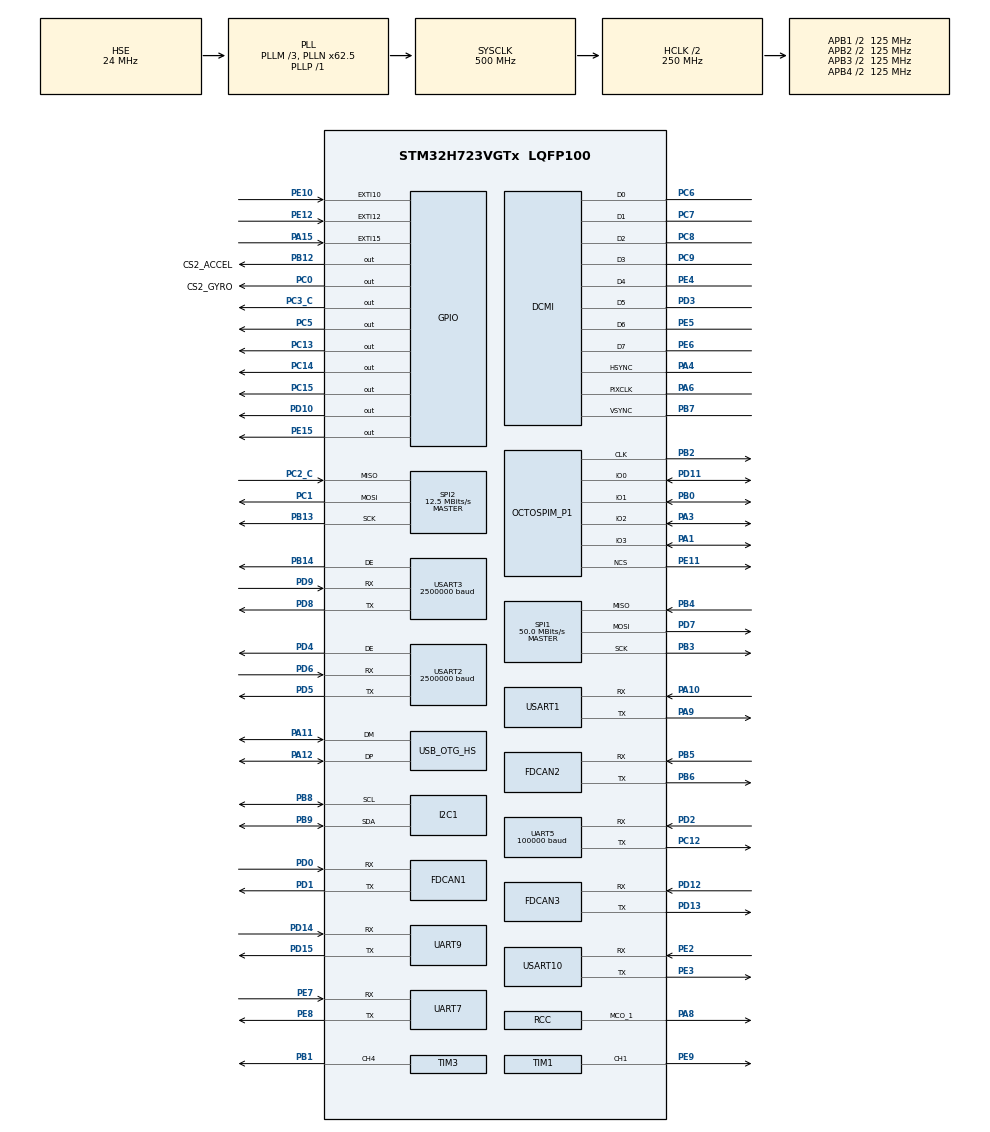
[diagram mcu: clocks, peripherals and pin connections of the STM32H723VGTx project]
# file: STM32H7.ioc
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DCMI.JPEGMode=DCMI_JPEG_DISABLE
Dma.Request0=SPI2_RX
Dma.Request1=SPI2_TX
Dma.Request2=USART2_RX
Dma.Request3=USART2_TX
Dma.Request4=USART3_RX
Dma.Request5=USART3_TX
Dma.SPI2_RX.0.Direction=DMA_PERIPH_TO_MEMORY
Dma.SPI2_RX.0.EventEnable=DISABLE
Dma.SPI2_RX.0.FIFOMode=DMA_FIFOMODE_DISABLE
Dma.SPI2_RX.0.Instance=DMA1_Stream0
Dma.SPI2_RX.0.MemDataAlignment=DMA_MDATAALIGN_BYTE
Dma.SPI2_RX.0.MemInc=DMA_MINC_ENABLE
Dma.SPI2_RX.0.Mode=DMA_NORMAL
Dma.SPI2_RX.0.PeriphDataAlignment=DMA_PDATAALIGN_BYTE
Dma.SPI2_RX.0.PeriphInc=DMA_PINC_DISABLE
Dma.SPI2_RX.0.Polarity=HAL_DMAMUX_REQ_GEN_RISING
Dma.SPI2_RX.0.Priority=DMA_PRIORITY_VERY_HIGH
Dma.SPI2_RX.0.RequestNumber=1
Dma.SPI2_RX.0.SignalID=NONE
Dma.SPI2_RX.0.SyncEnable=DISABLE
Dma.SPI2_RX.0.SyncPolarity=HAL_DMAMUX_SYNC_NO_EVENT
Dma.SPI2_RX.0.SyncRequestNumber=1
Dma.SPI2_RX.0.SyncSignalID=NONE
Dma.SPI2_TX.1.Direction=DMA_MEMORY_TO_PERIPH
Dma.SPI2_TX.1.EventEnable=DISABLE
Dma.SPI2_TX.1.FIFOMode=DMA_FIFOMODE_DISABLE
Dma.SPI2_TX.1.Instance=DMA1_Stream1
Dma.SPI2_TX.1.MemDataAlignment=DMA_MDATAALIGN_BYTE
Dma.SPI2_TX.1.MemInc=DMA_MINC_ENABLE
Dma.SPI2_TX.1.Mode=DMA_NORMAL
Dma.SPI2_TX.1.PeriphDataAlignment=DMA_PDATAALIGN_BYTE
Dma.SPI2_TX.1.PeriphInc=DMA_PINC_DISABLE
Dma.SPI2_TX.1.Polarity=HAL_DMAMUX_REQ_GEN_RISING
Dma.SPI2_TX.1.Priority=DMA_PRIORITY_VERY_HIGH
Dma.SPI2_TX.1.RequestNumber=1
Dma.SPI2_TX.1.SignalID=NONE
Dma.SPI2_TX.1.SyncEnable=DISABLE
Dma.SPI2_TX.1.SyncPolarity=HAL_DMAMUX_SYNC_NO_EVENT
Dma.SPI2_TX.1.SyncRequestNumber=1
Dma.SPI2_TX.1.SyncSignalID=NONE
Dma.USART2_RX.2.Direction=DMA_PERIPH_TO_MEMORY
Dma.USART2_RX.2.EventEnable=DISABLE
Dma.USART2_RX.2.FIFOMode=DMA_FIFOMODE_DISABLE
Dma.USART2_RX.2.Instance=DMA1_Stream2
Dma.USART2_RX.2.MemDataAlignment=DMA_MDATAALIGN_BYTE
Dma.USART2_RX.2.MemInc=DMA_MINC_ENABLE
Dma.USART2_RX.2.Mode=DMA_NORMAL
Dma.USART2_RX.2.PeriphDataAlignment=DMA_PDATAALIGN_BYTE
Dma.USART2_RX.2.PeriphInc=DMA_PINC_DISABLE
Dma.USART2_RX.2.Polarity=HAL_DMAMUX_REQ_GEN_RISING
Dma.USART2_RX.2.Priority=DMA_PRIORITY_MEDIUM
Dma.USART2_RX.2.RequestNumber=1
Dma.USART2_RX.2.SignalID=NONE
Dma.USART2_RX.2.SyncEnable=DISABLE
Dma.USART2_RX.2.SyncPolarity=HAL_DMAMUX_SYNC_NO_EVENT
Dma.USART2_RX.2.SyncRequestNumber=1
Dma.USART2_RX.2.SyncSignalID=NONE
Dma.USART2_TX.3.Direction=DMA_MEMORY_TO_PERIPH
Dma.USART2_TX.3.EventEnable=DISABLE
Dma.USART2_TX.3.FIFOMode=DMA_FIFOMODE_DISABLE
Dma.USART2_TX.3.Instance=DMA1_Stream3
Dma.USART2_TX.3.MemDataAlignment=DMA_MDATAALIGN_BYTE
Dma.USART2_TX.3.MemInc=DMA_MINC_ENABLE
Dma.USART2_TX.3.Mode=DMA_NORMAL
Dma.USART2_TX.3.PeriphDataAlignment=DMA_PDATAALIGN_BYTE
Dma.USART2_TX.3.PeriphInc=DMA_PINC_DISABLE
Dma.USART2_TX.3.Polarity=HAL_DMAMUX_REQ_GEN_RISING
Dma.USART2_TX.3.Priority=DMA_PRIORITY_MEDIUM
Dma.USART2_TX.3.RequestNumber=1
Dma.USART2_TX.3.SignalID=NONE
Dma.USART2_TX.3.SyncEnable=DISABLE
Dma.USART2_TX.3.SyncPolarity=HAL_DMAMUX_SYNC_NO_EVENT
Dma.USART2_TX.3.SyncRequestNumber=1
Dma.USART2_TX.3.SyncSignalID=NONE
Dma.USART3_RX.4.Direction=DMA_PERIPH_TO_MEMORY
Dma.USART3_RX.4.EventEnable=DISABLE
Dma.USART3_RX.4.FIFOMode=DMA_FIFOMODE_DISABLE
Dma.USART3_RX.4.Instance=DMA1_Stream4
Dma.USART3_RX.4.MemDataAlignment=DMA_MDATAALIGN_BYTE
Dma.USART3_RX.4.MemInc=DMA_MINC_ENABLE
Dma.USART3_RX.4.Mode=DMA_NORMAL
Dma.USART3_RX.4.PeriphDataAlignment=DMA_PDATAALIGN_BYTE
Dma.USART3_RX.4.PeriphInc=DMA_PINC_DISABLE
Dma.USART3_RX.4.Polarity=HAL_DMAMUX_REQ_GEN_RISING
Dma.USART3_RX.4.Priority=DMA_PRIORITY_MEDIUM
Dma.USART3_RX.4.RequestNumber=1
Dma.USART3_RX.4.SignalID=NONE
Dma.USART3_RX.4.SyncEnable=DISABLE
Dma.USART3_RX.4.SyncPolarity=HAL_DMAMUX_SYNC_NO_EVENT
Dma.USART3_RX.4.SyncRequestNumber=1
Dma.USART3_RX.4.SyncSignalID=NONE
Dma.USART3_TX.5.Direction=DMA_MEMORY_TO_PERIPH
Dma.USART3_TX.5.EventEnable=DISABLE
Dma.USART3_TX.5.FIFOMode=DMA_FIFOMODE_DISABLE
Dma.USART3_TX.5.Instance=DMA1_Stream5
Dma.USART3_TX.5.MemDataAlignment=DMA_MDATAALIGN_BYTE
Dma.USART3_TX.5.MemInc=DMA_MINC_ENABLE
Dma.USART3_TX.5.Mode=DMA_NORMAL
Dma.USART3_TX.5.PeriphDataAlignment=DMA_PDATAALIGN_BYTE
Dma.USART3_TX.5.PeriphInc=DMA_PINC_DISABLE
Dma.USART3_TX.5.Polarity=HAL_DMAMUX_REQ_GEN_RISING
Dma.USART3_TX.5.Priority=DMA_PRIORITY_MEDIUM
Dma.USART3_TX.5.RequestNumber=1
Dma.USART3_TX.5.SignalID=NONE
Dma.USART3_TX.5.SyncEnable=DISABLE
Dma.USART3_TX.5.SyncPolarity=HAL_DMAMUX_SYNC_NO_EVENT
Dma.USART3_TX.5.SyncRequestNumber=1
Dma.USART3_TX.5.SyncSignalID=NONE
FDCAN1.AutoRetransmission=DISABLE
FDCAN1.CalculateBaudRateNominal=1000000
FDCAN1.CalculateTimeBitNominal=1000
FDCAN1.CalculateTimeQuantumNominal=40.0
FDCAN1.DataPrescaler=4
FDCAN1.DataSyncJumpWidth=1
FDCAN1.DataTimeSeg1=19
FDCAN1.DataTimeSeg2=5
FDCAN1.ExtFiltersNbr=5
FDCAN1.FrameFormat=FDCAN_FRAME_CLASSIC
FDCAN1.NominalPrescaler=4
FDCAN1.NominalTimeSeg1=19
FDCAN1.NominalTimeSeg2=5
FDCAN1.ProtocolException=ENABLE
FDCAN1.RxFifo0ElmtSize=FDCAN_DATA_BYTES_24
FDCAN1.RxFifo0ElmtsNbr=4
FDCAN1.RxFifo1ElmtSize=FDCAN_DATA_BYTES_24
FDCAN1.RxFifo1ElmtsNbr=0
FDCAN1.StdFiltersNbr=5
FDCAN1.TransmitPause=DISABLE
FDCAN1.TxElmtSize=FDCAN_DATA_BYTES_24
FDCAN1.TxFifoQueueElmtsNbr=8
FDCAN2.CalculateBaudRateNominal=1000000
FDCAN2.CalculateTimeBitNominal=1000
FDCAN2.CalculateTimeQuantumNominal=50.0
FDCAN2.DataPrescaler=5
FDCAN2.DataSyncJumpWidth=1
FDCAN2.DataTimeSeg1=14
FDCAN2.DataTimeSeg2=5
FDCAN2.ExtFiltersNbr=5
FDCAN2.FrameFormat=FDCAN_FRAME_CLASSIC
FDCAN2.MessageRAMOffset=854
FDCAN2.NominalPrescaler=5
FDCAN2.NominalTimeSeg1=14
FDCAN2.NominalTimeSeg2=5
FDCAN2.ProtocolException=ENABLE
FDCAN2.RxFifo0ElmtsNbr=0
FDCAN2.RxFifo1ElmtSize=FDCAN_DATA_BYTES_24
FDCAN2.RxFifo1ElmtsNbr=4
FDCAN2.StdFiltersNbr=5
FDCAN2.TxElmtSize=FDCAN_DATA_BYTES_16
FDCAN2.TxFifoQueueElmtsNbr=4
FDCAN3.CalculateBaudRateNominal=1250000
FDCAN3.CalculateTimeBitNominal=800
FDCAN3.CalculateTimeQuantumNominal=160.0
FREERTOS.Tasks01=defaultTask,24,128,StartDefaultTask,Default,NULL,Dynamic,NULL,NULL
I2C1.Timing=0x20A0A3F6
Mcu.Family=STM32H7
Mcu.Name=STM32H723VGTx
Mcu.Package=LQFP100
NVIC.DMA1_Stream0_IRQn=true\:5\:0\:false\:false\:true\:true\:false\:true\:true
NVIC.DMA1_Stream1_IRQn=true\:5\:0\:false\:false\:true\:true\:false\:true\:true
NVIC.DMA1_Stream2_IRQn=true\:5\:0\:false\:false\:true\:true\:false\:true\:true
NVIC.DMA1_Stream3_IRQn=true\:5\:0\:false\:false\:true\:true\:false\:true\:true
NVIC.DMA1_Stream4_IRQn=true\:5\:0\:false\:false\:true\:true\:false\:true\:true
NVIC.DMA1_Stream5_IRQn=true\:5\:0\:false\:false\:true\:true\:false\:true\:true
NVIC.EXTI15_10_IRQn=true\:5\:0\:false\:false\:true\:true\:true\:true\:true
NVIC.FDCAN1_IT0_IRQn=true\:5\:0\:false\:false\:true\:true\:true\:true\:true
NVIC.FDCAN2_IT0_IRQn=true\:5\:0\:false\:false\:true\:true\:true\:true\:true
NVIC.OTG_HS_IRQn=true\:5\:0\:false\:false\:true\:true\:false\:true\:true
NVIC.PriorityGroup=NVIC_PRIORITYGROUP_4
NVIC.SPI2_IRQn=true\:5\:0\:false\:false\:true\:true\:false\:true\:true
NVIC.TIM2_IRQn=true\:5\:0\:false\:false\:true\:true\:true\:true\:true
NVIC.UART5_IRQn=true\:5\:0\:false\:false\:true\:true\:true\:true\:true
NVIC.USART1_IRQn=true\:5\:0\:false\:false\:true\:true\:true\:true\:true
NVIC.USART2_IRQn=true\:5\:0\:false\:false\:true\:true\:true\:true\:true
NVIC.USART3_IRQn=true\:5\:0\:false\:false\:true\:true\:true\:true\:true
PA0.Signal=S_TIM2_CH1_ETR
PA1.Mode=OCTOSPI1_IOL_Port1L
PA1.Signal=OCTOSPIM_P1_IO3
PA10.Mode=Asynchronous
PA10.Signal=USART1_RX
PA11.Mode=Device_Only_FS
PA11.Signal=USB_OTG_HS_DM
PA12.Mode=Device_Only_FS
PA12.Signal=USB_OTG_HS_DP
PA13(JTMS/SWDIO).Mode=Serial_Wire
PA13(JTMS/SWDIO).Signal=DEBUG_JTMS-SWDIO
PA14(JTCK/SWCLK).Mode=Serial_Wire
PA14(JTCK/SWCLK).Signal=DEBUG_JTCK-SWCLK
PA15(JTDI).GPIO_ModeDefaultEXTI=GPIO_MODE_IT_FALLING
PA15(JTDI).GPIO_PuPd=GPIO_PULLUP
PA15(JTDI).Signal=GPXTI15
PA2.Signal=S_TIM2_CH3
PA3.Mode=OCTOSPI1_IOL_Port1L
PA3.Signal=OCTOSPIM_P1_IO2
PA4.Mode=Slave_8_bits_External_Synchro
PA4.Signal=DCMI_HSYNC
PA5.Signal=ADCx_INN18
PA6.Mode=Slave_8_bits_External_Synchro
PA6.Signal=DCMI_PIXCLK
PA7.Signal=SPI6_MOSI
PA8.Mode=Clock-out-1
PA8.Signal=RCC_MCO_1
PA9.Mode=Asynchronous
PA9.Signal=USART1_TX
PB0.Mode=OCTOSPI1_IOL_Port1L
PB0.Signal=OCTOSPIM_P1_IO1
PB1.Signal=S_TIM3_CH4
PB10.Signal=I2C2_SCL
PB11.Signal=I2C2_SDA
PB12.GPIO_Label=CS2_ACCEL
PB12.Signal=GPIO_Output
PB13.Mode=Full_Duplex_Master
PB13.Signal=SPI2_SCK
PB14.Mode=Hardware Flow Control (RS485)
PB14.Signal=USART3_DE
PB15.Signal=S_TIM12_CH2
PB2.Mode=O1_P1_CLK
PB2.Signal=OCTOSPIM_P1_CLK
PB3(JTDO/TRACESWO).Mode=Full_Duplex_Master
PB3(JTDO/TRACESWO).Signal=SPI1_SCK
PB4(NJTRST).Mode=Full_Duplex_Master
PB4(NJTRST).Signal=SPI1_MISO
PB5.Mode=FDCAN_Activate
PB5.Signal=FDCAN2_RX
PB6.Mode=FDCAN_Activate
PB6.Signal=FDCAN2_TX
PB7.Mode=Slave_8_bits_External_Synchro
PB7.Signal=DCMI_VSYNC
PB8.GPIO_Pu=GPIO_PULLUP
PB8.Mode=I2C
PB8.Signal=I2C1_SCL
PB9.GPIO_Pu=GPIO_PULLUP
PB9.Mode=I2C
PB9.Signal=I2C1_SDA
PC0.GPIO_Label=CS2_GYRO
PC0.Signal=GPIO_Output
PC1.Mode=Full_Duplex_Master
PC1.Signal=SPI2_MOSI
PC12.Mode=Asynchronous
PC12.Signal=UART5_TX
PC13.Signal=GPIO_Output
PC14-OSC32_IN.Signal=GPIO_Output
PC15-OSC32_OUT.PinState=GPIO_PIN_SET
PC15-OSC32_OUT.Signal=GPIO_Output
PC2_C.Mode=Full_Duplex_Master
PC2_C.Signal=SPI2_MISO
PC3_C.Signal=GPIO_Output
PC4.Signal=ADCx_INP4
PC5.Signal=GPIO_Output
PC6.Mode=Slave_8_bits_External_Synchro
PC6.Signal=DCMI_D0
PC7.Mode=Slave_8_bits_External_Synchro
PC7.Signal=DCMI_D1
PC8.Mode=Slave_8_bits_External_Synchro
PC8.Signal=DCMI_D2
PC9.Mode=Slave_8_bits_External_Synchro
PC9.Signal=DCMI_D3
PD0.Mode=FDCAN_Activate
PD0.Signal=FDCAN1_RX
PD1.Mode=FDCAN_Activate
PD1.Signal=FDCAN1_TX
PD10.Signal=GPIO_Output
PD11.Mode=OCTOSPI1_IOL_Port1L
PD11.Signal=OCTOSPIM_P1_IO0
PD12.Mode=FDCAN_Activate
PD12.Signal=FDCAN3_RX
PD13.Mode=FDCAN_Activate
PD13.Signal=FDCAN3_TX
PD14.Mode=Asynchronous
PD14.Signal=UART9_RX
PD15.Mode=Asynchronous
PD15.Signal=UART9_TX
PD2.Mode=Asynchronous
PD2.Signal=UART5_RX
PD3.Mode=Slave_8_bits_External_Synchro
PD3.Signal=DCMI_D5
PD4.Mode=Hardware Flow Control (RS485)
PD4.Signal=USART2_DE
PD5.Mode=Asynchronous
PD5.Signal=USART2_TX
PD6.Mode=Asynchronous
PD6.Signal=USART2_RX
PD7.Mode=Full_Duplex_Master
PD7.Signal=SPI1_MOSI
PD8.Mode=Asynchronous
PD8.Signal=USART3_TX
PD9.Mode=Asynchronous
PD9.Signal=USART3_RX
PE0.Signal=UART8_RX
PE1.Signal=UART8_TX
PE10.Signal=GPXTI10
PE11.Mode=OCTOSPI1_Port1_NCS
PE11.Signal=OCTOSPIM_P1_NCS
PE12.Signal=GPXTI12
PE13.Signal=S_TIM1_CH3
PE14.Signal=SPI4_MOSI
PE15.Signal=GPIO_Output
PE2.Mode=Asynchronous
PE2.Signal=USART10_RX
PE3.Mode=Asynchronous
PE3.Signal=USART10_TX
PE4.Mode=Slave_8_bits_External_Synchro
PE4.Signal=DCMI_D4
PE5.Mode=Slave_8_bits_External_Synchro
PE5.Signal=DCMI_D6
PE6.Mode=Slave_8_bits_External_Synchro
PE6.Signal=DCMI_D7
PE7.Mode=Asynchronous
PE7.Signal=UART7_RX
PE8.Mode=Asynchronous
PE8.Signal=UART7_TX
PE9.Signal=S_TIM1_CH1
PH0-OSC_IN.Mode=HSE-External-Oscillator
PH0-OSC_IN.Signal=RCC_OSC_IN
PH1-OSC_OUT.Mode=HSE-External-Oscillator
PH1-OSC_OUT.Signal=RCC_OSC_OUT
ProjectManager.HeapSize=0x200
ProjectManager.StackSize=0x400
ProjectManager.TargetToolchain=MDK-ARM V5.32
RCC.ADCFreq_Value=81473684.21052632
RCC.APB1Freq_Value=125000000
RCC.APB2Freq_Value=125000000
RCC.APB3Freq_Value=125000000
RCC.APB4Freq_Value=125000000
RCC.CortexFreq_Value=500000000
RCC.D1PPRE=RCC_APB3_DIV2
RCC.D2PPRE1=RCC_APB1_DIV2
RCC.D2PPRE2=RCC_APB2_DIV2
RCC.D3PPRE=RCC_APB4_DIV2
RCC.DIVM1=3
RCC.DIVM2=19
RCC.DIVN1=62
RCC.DIVP1=1
RCC.DIVQ1=5
RCC.HCLKFreq_Value=250000000
RCC.HPRE=RCC_HCLK_DIV2
RCC.HSE_VALUE=24000000
RCC.PLL2FRACN=0
RCC.PLL3FRACN=0
RCC.PLLFRACN=4096
RCC.PLLSourceVirtual=RCC_PLLSOURCE_HSE
RCC.RCC_MCO1Source=RCC_MCO1SOURCE_HSE
RCC.SYSCLKFreq_VALUE=500000000
RCC.SYSCLKSource=RCC_SYSCLKSOURCE_PLLCLK
RCC.USBCLockSelection=RCC_USBCLKSOURCE_HSI48
RCC.USBFreq_Value=48000000
SH.ADCx_INN18.0=ADC1_INN18
SH.ADCx_INP4.0=ADC1_INP4
SH.S_TIM12_CH2.0=TIM12_CH2
SH.S_TIM1_CH1.0=TIM1_CH1,PWM Generation1 CH1
SH.S_TIM1_CH3.0=TIM1_CH3
SH.S_TIM2_CH1_ETR.0=TIM2_CH1
SH.S_TIM2_CH3.0=TIM2_CH3
SH.S_TIM3_CH4.0=TIM3_CH4,PWM Generation4 CH4
SPI1.BaudRatePrescaler=SPI_BAUDRATEPRESCALER_2
SPI1.CalculateBaudRate=50.0 MBits/s
SPI1.Direction=SPI_DIRECTION_2LINES
SPI1.Mode=SPI_MODE_MASTER
SPI1.VirtualType=VM_MASTER
SPI2.BaudRatePrescaler=SPI_BAUDRATEPRESCALER_8
SPI2.CLKPhase=SPI_PHASE_2EDGE
SPI2.CLKPolarity=SPI_POLARITY_HIGH
SPI2.CalculateBaudRate=12.5 MBits/s
SPI2.DataSize=SPI_DATASIZE_8BIT
SPI2.Direction=SPI_DIRECTION_2LINES
SPI2.Mode=SPI_MODE_MASTER
SPI2.VirtualNSS=VM_NSSHARD
SPI2.VirtualType=VM_MASTER
TIM1.Channel-PWM\ Generation1\ CH1=TIM_CHANNEL_1
TIM1.Channel-PWM\ Generation2\ CH2=TIM_CHANNEL_2
TIM1.Channel-PWM\ Generation3\ CH3=TIM_CHANNEL_3
TIM1.Channel-PWM\ Generation4\ CH4=TIM_CHANNEL_4
TIM2.Period=999
TIM2.Prescaler=249
TIM3.Channel-PWM\ Generation4\ CH4=TIM_CHANNEL_4
UART5.BaudRate=100000
UART5.Mode=MODE_TX_RX
UART5.Parity=PARITY_EVEN
UART5.RxPinLevelInvertParam=UART_ADVFEATURE_RXINV_DISABLE
UART5.StopBits=UART_STOPBITS_2
UART5.WordLength=WORDLENGTH_9B
USART1.VirtualMode-Asynchronous=VM_ASYNC
USART10.VirtualMode=VM_ASYNC
USART2.BaudRate=2500000
USART2.VirtualMode-Asynchronous=VM_ASYNC
USART2.VirtualMode-Hardware\ Flow\ Control\ (RS485)=VM_ASYNC
USART3.BaudRate=2500000
USART3.VirtualMode-Asynchronous=VM_ASYNC
USART3.VirtualMode-Hardware\ Flow\ Control\ (RS485)=VM_ASYNC
USB_DEVICE.CLASS_NAME_HS=CDC
USB_DEVICE.VirtualMode=Cdc
USB_DEVICE.VirtualModeHS=Cdc_HS
USB_OTG_HS.VirtualMode-Device_Only_FS=Device_Only_FS
VP_FREERTOS_VS_CMSIS_V2.Mode=CMSIS_V2
VP_OCTOSPI1_VS_quad.Mode=quad_mode
VP_TIM2_VS_ClockSourceINT.Mode=Internal
VP_USB_DEVICE_VS_USB_DEVICE_CDC_HS.Mode=CDC_HS
board=custom

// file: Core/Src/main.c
/* USER CODE BEGIN Header */
/**
  ******************************************************************************
  * @file           : main.c
  * @brief          : Main program body
  ******************************************************************************
  * @attention
  *
  * Copyright (c) 2024 STMicroelectronics.
  * All rights reserved.
  *
  * This software is licensed under terms that can be found in the LICENSE file
  * in the root directory of this software component.
  * If no LICENSE file comes with this software, it is provided AS-IS.
  *
  ******************************************************************************
  */
/* USER CODE END Header */
#include "main.h"
#include "cmsis_os.h"
#include "dcmi.h"
#include "dma.h"
#include "fdcan.h"
#include "i2c.h"
#include "octospi.h"
#include "spi.h"
#include "tim.h"
#include "usart.h"
#include "usb_device.h"
#include "gpio.h"

/* USER CODE BEGIN Includes */
#include "can_bsp.h"
#include "dm_drv.h"
#include "arm_math.h"
#include "gongwang.h"
/* USER CODE END Includes */

/* USER CODE BEGIN PD */
extern float vel_set;
Joint_Motor_t motor[15];
/* USER CODE END PD */

void SystemClock_Config(void);
void MX_FREERTOS_Init(void);

/* USER CODE BEGIN 0 */

/**
  * @brief  The application entry point.
  * @retval int
  */

/* USER CODE END 0 */

int main(void)
{
  /* USER CODE BEGIN 1 */
//01 08 00 00 02 00 00 00
  /* USER CODE END 1 */

  /* MCU Configuration--------------------------------------------------------*/

  /* Reset of all peripherals, Initializes the Flash interface and the Systick. */
  HAL_Init();

  /* Configure the system clock */
  SystemClock_Config();

  /* Initialize all configured peripherals */
  MX_GPIO_Init();
  MX_DMA_Init();
  MX_DCMI_Init();
  MX_FDCAN1_Init();
  MX_FDCAN3_Init();
  MX_I2C1_Init();
  MX_OCTOSPI1_Init();
  MX_SPI1_Init();
  MX_SPI2_Init();
  MX_TIM1_Init();
  MX_UART7_Init();
  MX_UART9_Init();
  MX_USART1_UART_Init();
  MX_USART2_UART_Init();
  MX_USART3_UART_Init();
  MX_USART10_UART_Init();
  MX_FDCAN2_Init();
  MX_TIM2_Init();
  MX_UART5_Init();
  MX_TIM3_Init();
  /* USER CODE BEGIN 2 */
	Power_OUT1_ON;
	Power_OUT2_ON;
	HAL_Delay(200);
	FDCAN1_Config();
	FDCAN2_Config();

	HAL_Delay(100);

	HAL_TIM_Base_Start_IT(&htim2);
	GongWang_Init();
  /* USER CODE END 2 */

  /* Init scheduler */
  osKernelInitialize();

  /* Call init function for freertos objects (in freertos.c) */
  MX_FREERTOS_Init();

  /* Start scheduler */
  osKernelStart();

  /* We should never get here as control is now taken by the scheduler */
  /* Infinite loop */
  /* USER CODE BEGIN WHILE */
  while (1)
  {

		HAL_Delay(2);
    /* USER CODE END WHILE */

  }
}

void SystemClock_Config(void)
{
  RCC_OscInitTypeDef RCC_OscInitStruct = {0};
  RCC_ClkInitTypeDef RCC_ClkInitStruct = {0};

  /** Supply configuration update enable
  */
  HAL_PWREx_ConfigSupply(PWR_LDO_SUPPLY);

  /** Configure the main internal regulator output voltage
  */
  __HAL_PWR_VOLTAGESCALING_CONFIG(PWR_REGULATOR_VOLTAGE_SCALE0);

  while(!__HAL_PWR_GET_FLAG(PWR_FLAG_VOSRDY)) {}

  /** Initializes the RCC Oscillators according to the specified parameters
  * in the RCC_OscInitTypeDef structure.
  */
  RCC_OscInitStruct.OscillatorType = RCC_OSCILLATORTYPE_HSI48|RCC_OSCILLATORTYPE_HSE;
  RCC_OscInitStruct.HSEState = RCC_HSE_ON;
  RCC_OscInitStruct.HSI48State = RCC_HSI48_ON;
  RCC_OscInitStruct.PLL.PLLState = RCC_PLL_ON;
  RCC_OscInitStruct.PLL.PLLSource = RCC_PLLSOURCE_HSE;
  RCC_OscInitStruct.PLL.PLLM = 3;
  RCC_OscInitStruct.PLL.PLLN = 62;
  RCC_OscInitStruct.PLL.PLLP = 1;
  RCC_OscInitStruct.PLL.PLLQ = 5;
  RCC_OscInitStruct.PLL.PLLR = 2;
  RCC_OscInitStruct.PLL.PLLRGE = RCC_PLL1VCIRANGE_3;
  RCC_OscInitStruct.PLL.PLLVCOSEL = RCC_PLL1VCOWIDE;
  RCC_OscInitStruct.PLL.PLLFRACN = 4096;
  if (HAL_RCC_OscConfig(&RCC_OscInitStruct) != HAL_OK)
  {
    Error_Handler();
  }

  /** Initializes the CPU, AHB and APB buses clocks
  */
  RCC_ClkInitStruct.ClockType = RCC_CLOCKTYPE_HCLK|RCC_CLOCKTYPE_SYSCLK
                              |RCC_CLOCKTYPE_PCLK1|RCC_CLOCKTYPE_PCLK2
                              |RCC_CLOCKTYPE_D3PCLK1|RCC_CLOCKTYPE_D1PCLK1;
  RCC_ClkInitStruct.SYSCLKSource = RCC_SYSCLKSOURCE_PLLCLK;
  RCC_ClkInitStruct.SYSCLKDivider = RCC_SYSCLK_DIV1;
  RCC_ClkInitStruct.AHBCLKDivider = RCC_HCLK_DIV2;
  RCC_ClkInitStruct.APB3CLKDivider = RCC_APB3_DIV2;
  RCC_ClkInitStruct.APB1CLKDivider = RCC_APB1_DIV2;
  RCC_ClkInitStruct.APB2CLKDivider = RCC_APB2_DIV2;
  RCC_ClkInitStruct.APB4CLKDivider = RCC_APB4_DIV2;

  if (HAL_RCC_ClockConfig(&RCC_ClkInitStruct, FLASH_LATENCY_3) != HAL_OK)
  {
    Error_Handler();
  }
  HAL_RCC_MCOConfig(RCC_MCO1, RCC_MCO1SOURCE_HSE, RCC_MCODIV_1);
}

void Error_Handler(void)
{
  __disable_irq();
  while (1)
  {
  }
}

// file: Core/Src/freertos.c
/* USER CODE BEGIN Header */
/**
  ******************************************************************************
  * File Name          : freertos.c
  * Description        : Code for freertos applications
  ******************************************************************************
  * @attention
  *
  * Copyright (c) 2024 STMicroelectronics.
  * All rights reserved.
  *
  * This software is licensed under terms that can be found in the LICENSE file
  * in the root directory of this software component.
  * If no LICENSE file comes with this software, it is provided AS-IS.
  *
  ******************************************************************************
  */
/* USER CODE END Header */

#include "FreeRTOS.h"
#include "task.h"
#include "main.h"
#include "cmsis_os.h"

/* USER CODE BEGIN Includes */
#include "main_control.h"
#include "controller.h"
#include "imu.h"
#include "board_com.h"
#include "gongwang.h"
/* USER CODE END Includes */

/* Definitions for defaultTask */
osThreadId_t defaultTaskHandle;
const osThreadAttr_t defaultTask_attributes = {
  .name = "defaultTask",
  .stack_size = 128 * 4,
  .priority = (osPriority_t) osPriorityNormal,
};

/* USER CODE BEGIN FunctionPrototypes */
osThreadId_t main_control_Handle;
const osThreadAttr_t main_control_attributes = {
  .name = "mainTask",
  .stack_size = 256 * 4,
  .priority = (osPriority_t) osPriorityNormal,
};

osThreadId_t xout_can1_Handle;
const osThreadAttr_t xout_can1_attributes = {
  .name = "Xout_can1Task",
  .stack_size = 256 * 4,
  .priority = (osPriority_t) osPriorityNormal,
};

osThreadId_t xout_can2_Handle;
const osThreadAttr_t xout_can2_attributes = {
  .name = "Xout_can2Task",
  .stack_size = 256 * 4,
  .priority = (osPriority_t) osPriorityNormal,
};

osThreadId_t controllerHandle;
const osThreadAttr_t controller_attributes = {
  .name = "controllerTask",
  .stack_size = 256 * 4,
  .priority = (osPriority_t) osPriorityNormal,
};

osThreadId_t USBHandle;
const osThreadAttr_t USB_attributes = {
  .name = "USBTask",
  .stack_size = 256 * 4,
  .priority = (osPriority_t) osPriorityNormal,
};

osThreadId_t comHandle;
const osThreadAttr_t com_attributes = {
  .name = "comTask",
  .stack_size = 256 * 4,
  .priority = (osPriority_t) osPriorityNormal,
};

osThreadId_t imuHandle;
const osThreadAttr_t imu_attributes = {
  .name = "imuTask",
  .stack_size = 128 * 4,
  .priority = (osPriority_t) osPriorityNormal,
};

osThreadId_t gongwangHandle;
const osThreadAttr_t gongwang_attributes = {
  .name = "gongwangTask",
  .stack_size = 256 * 4,
  .priority = (osPriority_t) osPriorityNormal,
};
/* USER CODE END FunctionPrototypes */

void StartDefaultTask(void *argument);

extern void MX_USB_DEVICE_Init(void);
void MX_FREERTOS_Init(void); /* (MISRA C 2004 rule 8.1) */

void MX_FREERTOS_Init(void) {

  /* Create the thread(s) */
  /* creation of defaultTask */
  defaultTaskHandle = osThreadNew(StartDefaultTask, NULL, &defaultTask_attributes);

  /* USER CODE BEGIN RTOS_THREADS */
	main_control_Handle = osThreadNew(mainTask, NULL, &main_control_attributes);
//	xout_can1_Handle = osThreadNew(XoutTask_CAN1, NULL, &xout_can1_attributes);
//	xout_can2_Handle = osThreadNew(XoutTask_CAN2, NULL, &xout_can2_attributes);
	controllerHandle = osThreadNew(controller_Handle, NULL, &controller_attributes);
	USBHandle = osThreadNew(USB_Task, NULL, &USB_attributes);
	comHandle = osThreadNew(comTask, NULL, &com_attributes);
	imuHandle = osThreadNew(imu_Task, NULL, &imu_attributes);
	gongwangHandle = osThreadNew(GongWang_Task, NULL, &gongwang_attributes);
  /* add threads, ... */
  /* USER CODE END RTOS_THREADS */

}

void StartDefaultTask(void *argument)
{
  /* init code for USB_DEVICE */
  MX_USB_DEVICE_Init();
  for(;;)
  {
    osDelay(1);
  }
}
